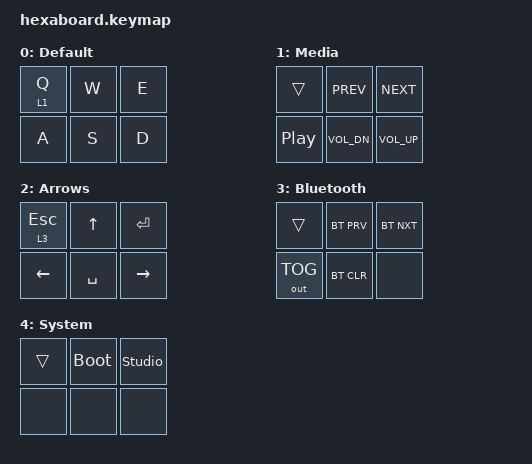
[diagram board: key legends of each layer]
/*
 * Copyright (c) 2025 The ZMK Contributors
 *
 * SPDX-License-Identifier: MIT
 */

#include <behaviors.dtsi>
#include <dt-bindings/zmk/keys.h>
#include <dt-bindings/zmk/bt.h>
#include <dt-bindings/zmk/outputs.h>

/ {
    combos {
        compatible = "zmk,combos";
        combo_tog_layer {
            key-positions = <1 4>;
            timeout-ms = <50>;
            bindings = <&tog 2>;
        };
        combo_tog_sys {
            key-positions = <1 3 5>;
            timeout-ms = <50>;
            bindings = <&tog 4>;
            layers = <0>;
        };
        combo_arrow_down {
            key-positions = <3 5>;
            timeout-ms = <50>;
            bindings = <&kp DOWN>;
            layers = <2>;
        };

    };

    keymap {
        compatible = "zmk,keymap";

        default_layer {
            display-name = "Default";
            bindings = <
                &lt 1 Q     &kp W     &kp E
                &kp A       &kp S     &kp D
            >;
        };

        media_layer {
            display-name = "Media";
            bindings = <
                &trans      &kp C_PREV     &kp C_NEXT
                &kp C_PP    &kp C_VOL_DN   &kp C_VOL_UP

            >;
        };

        arrows_layer {
            display-name = "Arrows";
            bindings = <
                &lt 3 ESC  &kp UP     &kp RET
                &kp LEFT   &kp SPACE  &kp RIGHT
            >;
        };

        bluetooth_layer {
            display-name = "Bluetooth";
            bindings = <
                &trans        &bt BT_PRV    &bt BT_NXT
                &out OUT_TOG  &bt BT_CLR    &none
            >;
        };

        system_layer {
            display-name = "System";
            bindings = <
                &trans &bootloader &studio_unlock
                &none  &none       &none
            >;
        };

        extra1 {
            status = "reserved";
        };

        extra2 {
            status = "reserved";
        };
    };
};
